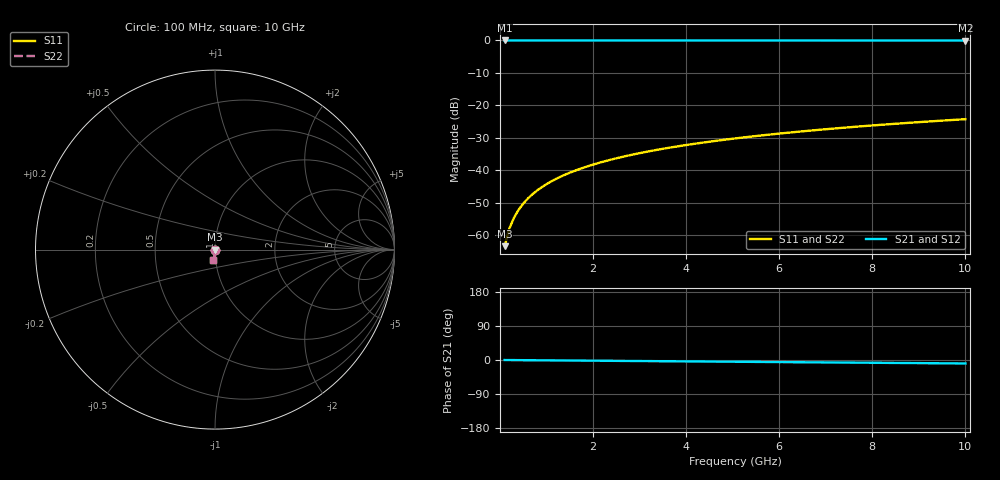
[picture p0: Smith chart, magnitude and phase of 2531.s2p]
# Hz S RI R 50.00
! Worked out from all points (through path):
!   100 points, 100 MHz to 10 GHz, reference 50 ohm
!   highest |S21| = 0.00 dB at 100 MHz (marker M1); lowest = 0.0 dB at 10 GHz (marker M2)
!   group delay of S21, straight-line fit = 2.54 ps
!   lowest |S11| = -63.3 dB at 100 MHz (marker M3), VSWR 1.00, Z = 50 - j0.0613 ohm
!   |S11| at or under -10 dB: start of sweep to end of sweep
!   |S22| runs from -63.3 to -24.2 dB; largest |S21 - S12| = 0
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1e8  0.000296 -0.000613  0.9997 -0.00159  0.9997 -0.00159  0.000296 -0.000613
2e8  0.000294 -0.00123  0.9997 -0.00317  0.9997 -0.00317  0.000294 -0.00123
3e8  0.000289 -0.00184  0.9997 -0.00476  0.9997 -0.00476  0.000289 -0.00184
4e8  0.000283 -0.00245  0.9997 -0.00634  0.9997 -0.00634  0.000283 -0.00245
5e8  0.000274 -0.00307  0.9997 -0.00793  0.9997 -0.00793  0.000274 -0.00307
6e8  0.000263 -0.00368  0.9996 -0.00952  0.9996 -0.00952  0.000263 -0.00368
7e8  0.00025 -0.00429  0.9996 -0.0111  0.9996 -0.0111  0.00025 -0.00429
8e8  0.000235 -0.0049  0.9996 -0.0127  0.9996 -0.0127  0.000235 -0.0049
9e8  0.000219 -0.00552  0.9996 -0.0143  0.9996 -0.0143  0.000219 -0.00552
1.1e9  0.000179 -0.00674  0.9995 -0.0174  0.9995 -0.0174  0.000179 -0.00674
1.4e9  0.000105 -0.00858  0.9994 -0.0222  0.9994 -0.0222  0.000105 -0.00858
1.8e9  -2.2e-05 -0.011  0.9992 -0.0286  0.9992 -0.0286  -2.2e-05 -0.011
2.1e9  -0.000138 -0.0129  0.999 -0.0333  0.999 -0.0333  -0.000138 -0.0129
2.5e9  -0.000319 -0.0153  0.9988 -0.0397  0.9988 -0.0397  -0.000319 -0.0153
2.9e9  -0.000532 -0.0178  0.9984 -0.046  0.9984 -0.046  -0.000532 -0.0178
3.4e9  -0.000842 -0.0208  0.998 -0.0539  0.998 -0.0539  -0.000842 -0.0208
4.2e9  -0.00144 -0.0257  0.9971 -0.0666  0.9971 -0.0666  -0.00144 -0.0257
5.1e9  -0.00226 -0.0312  0.9958 -0.0809  0.9958 -0.0809  -0.00226 -0.0312
5.9e9  -0.00313 -0.0361  0.9946 -0.0936  0.9946 -0.0936  -0.00313 -0.0361
6.7e9  -0.00411 -0.0409  0.9931 -0.1062  0.9931 -0.1062  -0.00411 -0.0409
8.4e9  -0.00663 -0.0511  0.9893 -0.1331  0.9893 -0.1331  -0.00663 -0.0511
1e10  -0.0095 -0.0606  0.985 -0.1583  0.985 -0.1583  -0.0095 -0.0606
